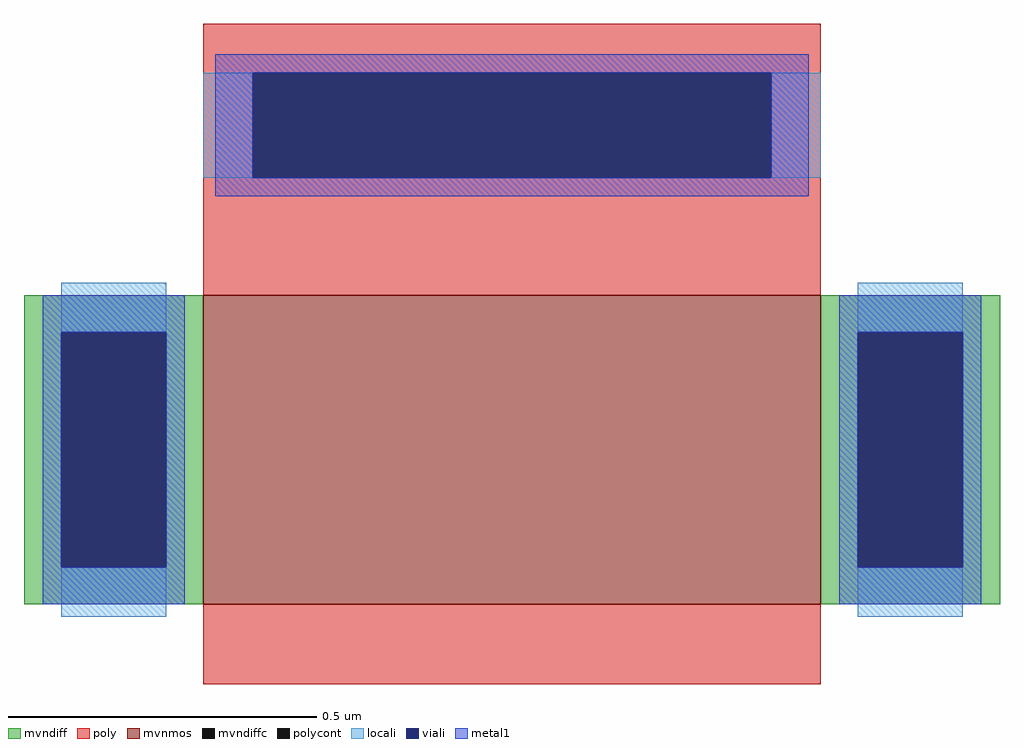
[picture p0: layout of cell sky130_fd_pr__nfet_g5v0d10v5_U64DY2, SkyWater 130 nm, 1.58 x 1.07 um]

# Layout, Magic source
magic
tech sky130A
magscale 1 2
<< mvnmos >>
rect -100 -81 100 19
<< mvndiff >>
rect -158 7 -100 19
rect -158 -69 -146 7
rect -112 -69 -100 7
rect -158 -81 -100 -69
rect 100 7 158 19
rect 100 -69 112 7
rect 146 -69 158 7
rect 100 -81 158 -69
<< mvndiffc >>
rect -146 -69 -112 7
rect 112 -69 146 7
<< poly >>
rect -100 91 100 107
rect -100 57 -84 91
rect 84 57 100 91
rect -100 19 100 57
rect -100 -107 100 -81
<< polycont >>
rect -84 57 84 91
<< locali >>
rect -100 57 -84 91
rect 84 57 100 91
rect -146 7 -112 23
rect -146 -85 -112 -69
rect 112 7 146 23
rect 112 -85 146 -69
<< viali >>
rect -84 57 84 91
rect -146 -69 -112 7
rect 112 -69 146 7
<< metal1 >>
rect -96 91 96 97
rect -96 57 -84 91
rect 84 57 96 91
rect -96 51 96 57
rect -152 7 -106 19
rect -152 -69 -146 7
rect -112 -69 -106 7
rect -152 -81 -106 -69
rect 106 7 152 19
rect 106 -69 112 7
rect 146 -69 152 7
rect 106 -81 152 -69
<< properties >>
string gencell sky130_fd_pr__nfet_g5v0d10v5
string library sky130
string parameters w 0.5 l 1 m 1 nf 1 diffcov 100 polycov 100 guard 0 glc 1 grc 1 gtc 1 gbc 1 tbcov 100 rlcov 100 topc 1 botc 0 poverlap 0 doverlap 1 lmin 0.50 wmin 0.42 compatible {sky130_fd_pr__nfet_01v8 sky130_fd_pr__nfet_01v8_lvt  sky130_fd_bs_flash__special_sonosfet_star  sky130_fd_pr__nfet_g5v0d10v5 sky130_fd_pr__nfet_05v0_nvt  sky130_fd_pr__nfet_03v3_nvt} full_metal 1 viasrc 100 viadrn 100 viagate 100 viagb 0 viagr 0 viagl 0 viagt 0
<< end >>
